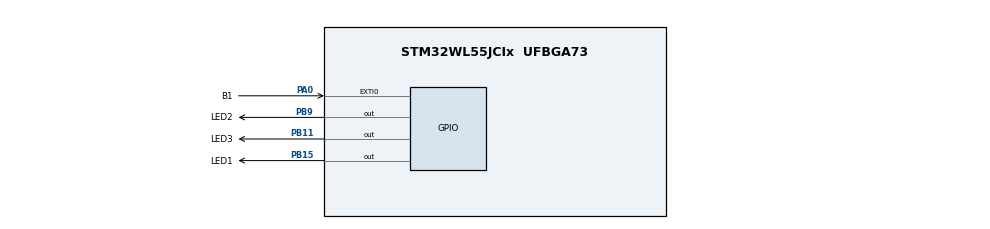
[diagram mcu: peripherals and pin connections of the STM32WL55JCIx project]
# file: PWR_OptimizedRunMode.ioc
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Mcu.Family=STM32WL
Mcu.Name=STM32WL55JCIx
Mcu.Package=UFBGA73
NVIC.EXTI0_IRQn=true\:0\:0\:false\:false\:false\:true\:false
NVIC.PriorityGroup=NVIC_PRIORITYGROUP_4
PA0.GPIO_Label=B1
PA0.GPIO_ModeDefaultEXTI=GPIO_MODE_IT_FALLING
PA0.GPIO_PuPd=GPIO_PULLUP
PA0.Signal=GPXTI0
PB11.GPIO_Label=LED3
PB11.Signal=GPIO_Output
PB15.GPIO_Label=LED1
PB15.Signal=GPIO_Output
PB9.GPIO_Label=LED2
PB9.Signal=GPIO_Output
ProjectManager.HeapSize=0x200
ProjectManager.StackSize=0x400
ProjectManager.TargetToolchain=EWARM V8
RCC.AHBFreq_Value=48000000
RCC.APB1Freq_Value=48000000
RCC.APB1TimFreq_Value=48000000
RCC.APB2Freq_Value=48000000
RCC.APB2TimFreq_Value=48000000
RCC.APB3Freq_Value=48000000
RCC.CortexFreq_Value=48000000
RCC.HCLKFreq_Value=48000000
RCC.HSE_VALUE=8000000
RCC.HSI_VALUE=16000000
RCC.LSE_VALUE=32768
RCC.MSIClockRange=RCC_MSIRANGE_11
RCC.SYSCLKFreq_VALUE=48000000
RCC.VCOOutputFreq_Value=384000000
board=custom

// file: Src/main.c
/* USER CODE BEGIN Header */
/**
  ******************************************************************************
  * @file    Examples_LL/PWR/PWR_OptimizedRunMode/Src/main.c
  * @author  MCD Application Team
  * @brief   This example describes how to enter or exit Low Power Run mode and update
  *          the core frequency on the fly through the STM32WLxx PWR LL API.
  ******************************************************************************
  * @attention
  *
  * Copyright (c) 2020 STMicroelectronics.
  * All rights reserved.
  *
  * This software is licensed under terms that can be found in the LICENSE file
  * in the root directory of this software component.
  * If no LICENSE file comes with this software, it is provided AS-IS.
  *
  ******************************************************************************
  */
/* USER CODE END Header */
#include "main.h"

/* USER CODE BEGIN PTD */

#define USE_LED

typedef enum {
  RUN_MODE_DOWN_TO_16MHZ = 0,
  RUN_MODE_DOWN_TO_100KHZ  = 1,
  RUN_MODE_UP_TO_16MHZ   = 2,
  RUN_MODE_UP_TO_48MHZ   = 3
}RunMode_Typedef;

/* USER CODE END PTD */

/* USER CODE BEGIN PV */

RunMode_Typedef RunMode_Next = RUN_MODE_DOWN_TO_16MHZ;
__IO uint8_t ubSequenceRunModes_OnGoing = 1;
#ifdef USE_LED
__IO uint16_t uhLedBlinkSpeed = LED_BLINK_FAST;
#endif

/* USER CODE END PV */

void SystemClock_Config(void);
static void MX_GPIO_Init(void);
/* USER CODE BEGIN PFP */

#ifdef USE_LED
void     LED_Blinking(void);
#endif
void     EnterRunMode_DownTo16MHz(void);
void     EnterRunMode_LowPower_DownTo100KHz(void);
void     EnterRunMode_UpTo16MHz(void);
void     EnterRunMode_UpTo48MHz(void);

/* USER CODE END PFP */

int main(void)
{

  /* MCU Configuration--------------------------------------------------------*/

  /* Reset of all peripherals, Initializes the Flash interface and the Systick. */

  /* System interrupt init*/
  NVIC_SetPriorityGrouping(NVIC_PRIORITYGROUP_4);

  /* Configure the system clock */
  SystemClock_Config();

  /* Initialize all configured peripherals */
  MX_GPIO_Init();
  /* USER CODE BEGIN 2 */

  /* Remain in this loop until end of sequences of different run modes */
  while(ubSequenceRunModes_OnGoing != 0)
  {
#ifdef USE_LED
    /* Led blinking until User push-button action */
    LED_Blinking();
#endif
  }
  /* USER CODE END 2 */

  /* Infinite loop */
  while (1)
  {

    /* USER CODE BEGIN 3 */

#ifdef USE_LED
    /* Led blinking in infinite loop */
    LED_Blinking();
#endif
  }
  /* USER CODE END 3 */
}

void SystemClock_Config(void)
{
  LL_FLASH_SetLatency(LL_FLASH_LATENCY_2);
  while(LL_FLASH_GetLatency() != LL_FLASH_LATENCY_2)
  {
  }

  LL_PWR_SetRegulVoltageScaling(LL_PWR_REGU_VOLTAGE_SCALE1);
  LL_RCC_MSI_Enable();

   /* Wait till MSI is ready */
  while(LL_RCC_MSI_IsReady() != 1)
  {
  }

  LL_RCC_MSI_EnableRangeSelection();
  LL_RCC_MSI_SetRange(LL_RCC_MSIRANGE_11);
  LL_RCC_MSI_SetCalibTrimming(0);
  LL_RCC_SetSysClkSource(LL_RCC_SYS_CLKSOURCE_MSI);

   /* Wait till System clock is ready */
  while(LL_RCC_GetSysClkSource() != LL_RCC_SYS_CLKSOURCE_STATUS_MSI)
  {
  }

  LL_RCC_SetAHBPrescaler(LL_RCC_SYSCLK_DIV_1);
  LL_RCC_SetAHB3Prescaler(LL_RCC_SYSCLK_DIV_1);
  LL_RCC_SetAPB1Prescaler(LL_RCC_APB1_DIV_1);
  LL_RCC_SetAPB2Prescaler(LL_RCC_APB2_DIV_1);

  LL_Init1msTick(48000000);

  /* Update CMSIS variable (which can be updated also through SystemCoreClockUpdate function) */
  LL_SetSystemCoreClock(48000000);
}

static void MX_GPIO_Init(void)
{
  LL_EXTI_InitTypeDef EXTI_InitStruct = {0};
  LL_GPIO_InitTypeDef GPIO_InitStruct = {0};

  /* GPIO Ports Clock Enable */
  LL_AHB2_GRP1_EnableClock(LL_AHB2_GRP1_PERIPH_GPIOB);
  LL_AHB2_GRP1_EnableClock(LL_AHB2_GRP1_PERIPH_GPIOA);

  /**/
  LL_GPIO_ResetOutputPin(GPIOB, LED1_Pin|LED2_Pin|LED3_Pin);

  /**/
  GPIO_InitStruct.Pin = LED1_Pin|LED2_Pin|LED3_Pin;
  GPIO_InitStruct.Mode = LL_GPIO_MODE_OUTPUT;
  GPIO_InitStruct.Speed = LL_GPIO_SPEED_FREQ_LOW;
  GPIO_InitStruct.OutputType = LL_GPIO_OUTPUT_PUSHPULL;
  GPIO_InitStruct.Pull = LL_GPIO_PULL_NO;
  LL_GPIO_Init(GPIOB, &GPIO_InitStruct);

  /**/
  LL_SYSCFG_SetEXTISource(LL_SYSCFG_EXTI_PORTA, LL_SYSCFG_EXTI_LINE0);

  /**/
  EXTI_InitStruct.Line_0_31 = LL_EXTI_LINE_0;
  EXTI_InitStruct.Line_32_63 = LL_EXTI_LINE_NONE;
  EXTI_InitStruct.LineCommand = ENABLE;
  EXTI_InitStruct.Mode = LL_EXTI_MODE_IT;
  EXTI_InitStruct.Trigger = LL_EXTI_TRIGGER_FALLING;
  LL_EXTI_Init(&EXTI_InitStruct);

  /**/
  LL_GPIO_SetPinPull(B1_GPIO_Port, B1_Pin, LL_GPIO_PULL_UP);

  /**/
  LL_GPIO_SetPinMode(B1_GPIO_Port, B1_Pin, LL_GPIO_MODE_INPUT);

  /* EXTI interrupt init*/
  NVIC_SetPriority(EXTI0_IRQn, NVIC_EncodePriority(NVIC_GetPriorityGrouping(),0, 0));
  NVIC_EnableIRQ(EXTI0_IRQn);

}

/* USER CODE BEGIN 4 */

#ifdef USE_LED
/**
  * @brief  Set LED2 to Blinking mode (Shall be call in a Loop).
  * @param  None
  * @retval None
  */
void LED_Blinking(void)
{
  /* Toggle IO. This function shall be called in a loop to toggle */
  LL_GPIO_TogglePin(LED2_GPIO_Port, LED2_Pin);
  LL_mDelay(uhLedBlinkSpeed);
}
#endif

/**
  * @brief  Function to decrease Frequency at 16MHz in Run Mode.
  * @param  None
  * @retval None
  */
void EnterRunMode_DownTo16MHz(void)
{
  /* 1 - Switch clock source on MSI */
  LL_RCC_SetSysClkSource(LL_RCC_SYS_CLKSOURCE_MSI);
  while(LL_RCC_GetSysClkSource() != LL_RCC_SYS_CLKSOURCE_STATUS_MSI)
  {
  };

  /* Set MSI to 16MHz */
  LL_RCC_MSI_SetRange(LL_RCC_MSIRANGE_8);

  /* Disable PLL to decrease power consumption */
  LL_RCC_PLL_Disable();
  while(LL_RCC_PLL_IsReady() != 0)
  {
  };

  /* Disable HSI and wait for deactivation */
  LL_RCC_HSI_Disable();
  while(LL_RCC_HSI_IsReady() != 0)
  {
  };

  /* Set systick to 1ms in using frequency set to 16MHz */
  LL_Init1msTick(16 * 1000000);
  /* Update CMSIS variable */
  LL_SetSystemCoreClock(16 * 1000000);

  /* 2 - Adjust Flash Wait state after decrease Clock Frequency */
  LL_FLASH_SetLatency(LL_FLASH_LATENCY_1);

  /* 3 - Set Voltage scaling (decrease Vcore) */
  LL_PWR_SetRegulVoltageScaling(LL_PWR_REGU_VOLTAGE_SCALE2);
}

/**
  * @brief  Function to decrease Frequency at 100KHZ in Low Power Run Mode.
  * @param  None
  * @retval None
  */
void EnterRunMode_LowPower_DownTo100KHz(void)
{
  /* 1 - Set Frequency to 100KHz to activate Low Power Run Mode: 100KHz */
  LL_RCC_MSI_SetRange(LL_RCC_MSIRANGE_0);
  /* Set systick to 1ms in using frequency set to 100KHz */
  LL_Init1msTick(100 * 1000);
  /* Update CMSIS variable */
  LL_SetSystemCoreClock(100 * 1000);

  /* 2 - Adjust Flash Wait state after decrease Clock Frequency */
  LL_FLASH_SetLatency(LL_FLASH_LATENCY_0);

  /* Voltage Scaling already set to LL_PWR_REGU_VOLTAGE_SCALE2. VCore already decreased */

  /* 3 - Activate Low Power Run Mode */
  LL_PWR_EnterLowPowerRunMode();
}

/**
  * @brief  Function to increase Frequency at 16MHz in Run Mode.
  * @param  None
  * @retval None
  */
void EnterRunMode_UpTo16MHz(void)
{
  /* 1 - Deactivate Low Power Run Mode to increase Frequency up to 16MHz */
  LL_PWR_ExitLowPowerRunMode();

  /* Voltage Scaling already set to LL_PWR_REGU_VOLTAGE_SCALE2. VCore already decreased */

  /* 2 - Adjust Flash Wait state before increase Clock Frequency */
  LL_FLASH_SetLatency(LL_FLASH_LATENCY_1);

  /* Wait for flash latency setting effective before increase clock frequency */
  while(LL_FLASH_GetLatency() != LL_FLASH_LATENCY_1)
  {
  };

  /* 3 - Set Frequency to 16MHz (MSI) */
  LL_RCC_MSI_SetRange(LL_RCC_MSIRANGE_8);
  /* Set systick to 1ms in using frequency set to 16MHz */
  LL_Init1msTick(16 * 1000000);
  /* Update CMSIS variable */
  LL_SetSystemCoreClock(16 * 1000000);
}

/**
  * @brief  Function to increase Frequency at 48MHz in Run Mode.
  * @param  None
  * @retval None
  */
void EnterRunMode_UpTo48MHz(void)
{
  /* Set back same system configuration as before sequences of different run modes */
  SystemClock_Config();
}

/******************************************************************************/
/*   USER IRQ HANDLER TREATMENT                                               */
/******************************************************************************/
/**
  * @brief  Function to manage BUTTON IRQ Handler
  * @param  None
  * @retval None
  */
void UserButton_Callback(void)
{
  if(ubSequenceRunModes_OnGoing != 0)
  {
    switch(RunMode_Next)
    {
    case RUN_MODE_DOWN_TO_16MHZ:
      {
        /* Decrease core frequency and voltage
         * Frequency: 48MHz -> 16MHz
         * Voltage Scaling Range 2
         */
        EnterRunMode_DownTo16MHz();
  #ifdef USE_LED
        uhLedBlinkSpeed = LED_BLINK_MEDIUM;
  #endif
        /* Set Next RunMode to execute */
        RunMode_Next = RUN_MODE_DOWN_TO_100KHZ;
        break;
      }
    case RUN_MODE_DOWN_TO_100KHZ:
      {
        /* Decrease core frequency and enter Low Power Run mode
         * Frequency: 100KHz
         * Voltage Scaling Range 2
         * LowPowerRunMode activated
         */
        EnterRunMode_LowPower_DownTo100KHz();
  #ifdef USE_LED
        uhLedBlinkSpeed = LED_BLINK_SLOW;
  #endif
        /* Set Next RunMode to execute */
        RunMode_Next = RUN_MODE_UP_TO_16MHZ;
        break;
      }
    case RUN_MODE_UP_TO_16MHZ:
      {
        /* Increase core frequency and exit Low Power Run mode
         * Frequency: 100KHz -> 16MHz
         * Voltage Scaling Range 2
         * LowPowerRunMode deactivated
         */
        EnterRunMode_UpTo16MHz();
  #ifdef USE_LED
        uhLedBlinkSpeed = LED_BLINK_MEDIUM;
  #endif
        /* Set Next RunMode to execute */
        RunMode_Next = RUN_MODE_UP_TO_48MHZ;
        break;
      }
    case RUN_MODE_UP_TO_48MHZ:
      {
        /* Increase core frequency and voltage:
         * Frequency: 16MHz -> 48MHz
         * Voltage Scaling Range 1
         */
        EnterRunMode_UpTo48MHz();
  #ifdef USE_LED
        uhLedBlinkSpeed = LED_BLINK_FAST;
  #endif

        /* Exit Test */
        ubSequenceRunModes_OnGoing = 0;
        break;
      }
    }
  }
  else
  {
    /* End of sequences of different run modes, no action */
  }
}

/* USER CODE END 4 */

void Error_Handler(void)
{
}
